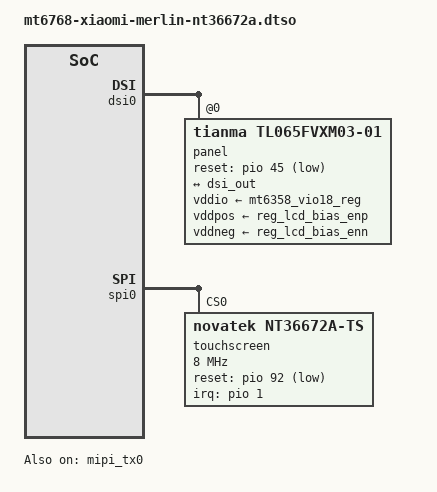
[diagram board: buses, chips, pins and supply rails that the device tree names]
/dts-v1/;
/plugin/;

#include <dt-bindings/gpio/gpio.h>
#include <dt-bindings/interrupt-controller/irq.h>
#include <dt-bindings/pinctrl/mediatek,mt6768-pinfunc.h>

&dsi0 {
	#address-cells = <1>;
	#size-cells = <0>;
	status = "okay";

	panel: panel@0 {
		compatible = "tianma,tl065fvxm03-01", "novatek,nt36672a";
		reg = <0>;
		pinctrl-0 = <&panel_pins>;
		pinctrl-names = "default";

		vddio-supply = <&mt6358_vio18_reg>;
		vddpos-supply = <&reg_lcd_bias_enp>;
		vddneg-supply = <&reg_lcd_bias_enn>;
		reset-gpios = <&pio 45 GPIO_ACTIVE_LOW>;

		port {
			nt36672a_in: endpoint {
				remote-endpoint = <&dsi_out>;
			};
		};
	};
};

&dsi_out {
	remote-endpoint = <&nt36672a_in>;
};

&mipi_tx0 {
	status = "okay";
};

&spi0 {
	pinctrl-0 = <&spi0_pins>;
	pinctrl-names = "default";
	mediatek,pad-select = <0>;
	#address-cells = <1>;
	#size-cells = <0>;

	status = "okay";

	touchscreen@0 {
		compatible = "novatek,nt36672a-ts";
		reg = <0>;
		pinctrl-0 = <&touch_pins>;
		pinctrl-names = "default";
		spi-cs-setup-delay-ns = <230>;
		spi-max-frequency = <8000000>;

		firmware-name = "nt36672a_tl065fvxm03_01.bin";

		interrupts-extended = <&pio 1 IRQ_TYPE_EDGE_RISING>;
		reset-gpios = <&pio 92 GPIO_ACTIVE_LOW>;
		panel = <&panel>;
	};
};
